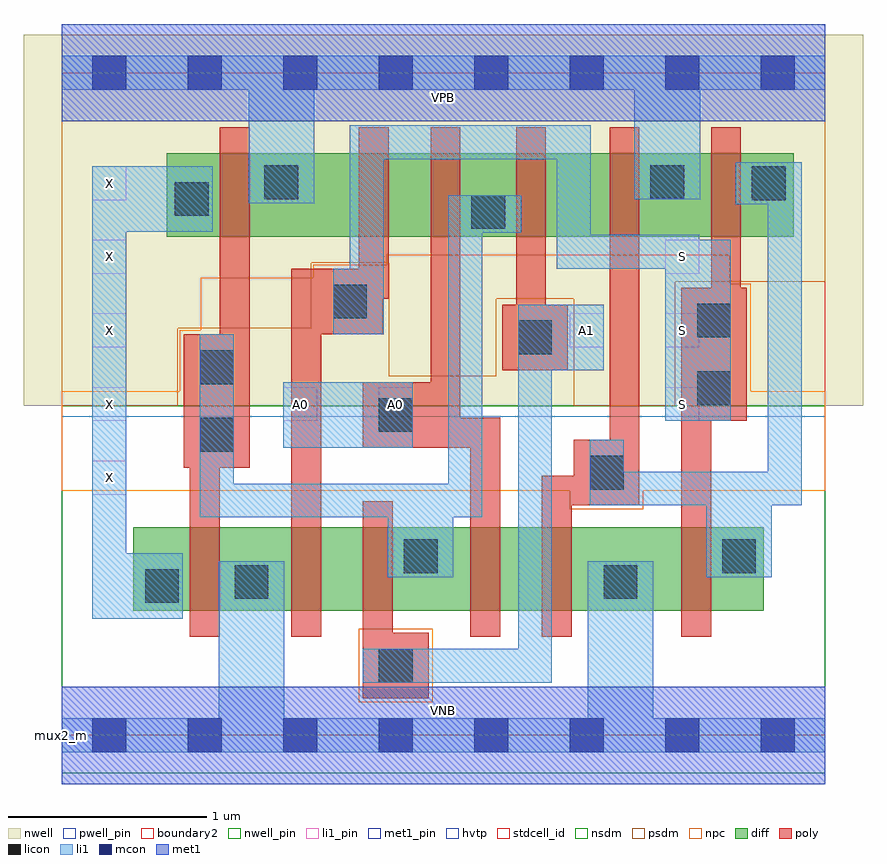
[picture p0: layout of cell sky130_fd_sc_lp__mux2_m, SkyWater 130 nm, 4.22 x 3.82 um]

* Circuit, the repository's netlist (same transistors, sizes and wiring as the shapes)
* Copyright 2020 The SkyWater PDK Authors
*
* Licensed under the Apache License, Version 2.0 (the "License");
* you may not use this file except in compliance with the License.
* You may obtain a copy of the License at
*
*     https://www.apache.org/licenses/LICENSE-2.0
*
* Unless required by applicable law or agreed to in writing, software
* distributed under the License is distributed on an "AS IS" BASIS,
* WITHOUT WARRANTIES OR CONDITIONS OF ANY KIND, either express or implied.
* See the License for the specific language governing permissions and
* limitations under the License.
*
* SPDX-License-Identifier: Apache-2.0

.SUBCKT sky130_fd_sc_lp__mux2_m A0 A1 S VGND VNB VPB VPWR X
*.PININFO A0:I A1:I S:I VGND:I VNB:I VPB:I VPWR:I X:O
MMNA00 xb A0 smdNA0 VNB sky130_fd_pr__nfet_01v8 m=1 w=0.42U l=0.15U mult=1 sa=0.265
+ sb=0.265 sd=0.28 area=0.063 perim=1.14
MMNA01 smdNA0 Sb VGND VNB sky130_fd_pr__nfet_01v8 m=1 w=0.42U l=0.15U mult=1 sa=0.265
+ sb=0.265 sd=0.28 area=0.063 perim=1.14
MMNA10 xb A1 sndNA1 VNB sky130_fd_pr__nfet_01v8 m=1 w=0.42U l=0.15U mult=1 sa=0.265
+ sb=0.265 sd=0.28 area=0.063 perim=1.14
MMNA11 sndNA1 S VGND VNB sky130_fd_pr__nfet_01v8 m=1 w=0.42U l=0.15U mult=1 sa=0.265
+ sb=0.265 sd=0.28 area=0.063 perim=1.14
MMIN1 Sb S VGND VNB sky130_fd_pr__nfet_01v8 m=1 w=0.42U l=0.15U mult=1 sa=0.265
+ sb=0.265 sd=0.28 area=0.063 perim=1.14
MMIN2 X xb VGND VNB sky130_fd_pr__nfet_01v8 m=1 w=0.42U l=0.15U mult=1 sa=0.265
+ sb=0.265 sd=0.28 area=0.063 perim=1.14
MMPA00 VPWR S sndPS VPB sky130_fd_pr__pfet_01v8_hvt m=1 w=0.42U l=0.15U mult=1
+ sa=0.265 sb=0.265 sd=0.28 area=0.063 perim=1.14
MMPA01 sndPS A0 xb VPB sky130_fd_pr__pfet_01v8_hvt m=1 w=0.42U l=0.15U mult=1 sa=0.265
+ sb=0.265 sd=0.28 area=0.063 perim=1.14
MMPA10 VPWR Sb sndPSb VPB sky130_fd_pr__pfet_01v8_hvt m=1 w=0.42U l=0.15U mult=1
+ sa=0.265 sb=0.265 sd=0.28 area=0.063 perim=1.14
MMPA11 sndPSb A1 xb VPB sky130_fd_pr__pfet_01v8_hvt m=1 w=0.42U l=0.15U mult=1
+ sa=0.265 sb=0.265 sd=0.28 area=0.063 perim=1.14
MMIP1 Sb S VPWR VPB sky130_fd_pr__pfet_01v8_hvt m=1 w=0.42U l=0.15U mult=1 sa=0.265
+ sb=0.265 sd=0.28 area=0.063 perim=1.14
MMIP2 X xb VPWR VPB sky130_fd_pr__pfet_01v8_hvt m=1 w=0.42U l=0.15U mult=1 sa=0.265
+ sb=0.265 sd=0.28 area=0.063 perim=1.14
.ENDS sky130_fd_sc_lp__mux2_m

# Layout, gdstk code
import gdstk
lib = gdstk.Library(unit=1e-6, precision=1e-09)
def R(c, l, rs):  # rectangles x0, y0, x1, y1
    for r in rs: c.add(gdstk.rectangle(r[:2], r[2:], *l))
def A(c, l, x, y, w, h, nx, ny, dx, dy):  # array of equal rectangles
    R(c, l, [(x+i*dx, y+j*dy, x+i*dx+w, y+j*dy+h) for i in range(nx) for j in range(ny)])
def P(c, l, *ps):  # polygons
    for p in ps: c.add(gdstk.Polygon(p, *l))
nwell_pin = (64, 16)
nwell = (64, 20)
diff = (65, 20)
poly = (66, 20)
licon = (66, 44)
li1_pin = (67, 16)
li1 = (67, 20)
mcon = (67, 44)
met1_pin = (68, 16)
met1 = (68, 20)
hvtp = (78, 44)
stdcell_id = (81, 4)
nsdm = (93, 44)
psdm = (94, 20)
npc = (95, 20)
pwell_pin = (122, 16)
boundary2 = (236, 0)

sky130_fd_sc_lp__mux2_m = lib.new_cell('sky130_fd_sc_lp__mux2_m')
R(sky130_fd_sc_lp__mux2_m, nwell_pin, [(0,3.085,3.84,3.33)])
R(sky130_fd_sc_lp__mux2_m, nwell, [(-0.19,1.655,4.03,3.52)])
R(sky130_fd_sc_lp__mux2_m, diff, [(0.36,0.625,3.53,1.045), (0.53,2.505,3.68,2.925)])
P(sky130_fd_sc_lp__mux2_m, poly, [(0.945,3.055),(0.795,3.055),(0.795,2.015),(0.615,2.015),(0.615,1.345),(0.645,1.345),(0.645,0.495),(0.795,0.495),(0.795,1.345),(0.945,1.345)],
  [(1.645,3.055),(1.495,3.055),(1.495,2.345),(1.155,2.345),(1.155,0.495),(1.305,0.495),(1.305,2.015),(1.615,2.015),(1.615,2.195),(1.645,2.195)],
  [(1.845,0.515),(1.665,0.515),(1.665,1.175),(1.515,1.175),(1.515,0.185),(1.845,0.185)],
  [(2.205,1.595),(2.005,1.595),(2.005,3.055),(1.855,3.055),(1.855,1.775),(1.515,1.775),(1.515,1.445),(2.055,1.445),(2.055,0.495),(2.205,0.495)],
  [(2.545,2.165),(2.435,2.165),(2.435,3.055),(2.285,3.055),(2.285,2.165),(2.215,2.165),(2.215,1.835),(2.545,1.835)],
  [(2.905,3.055),(2.755,3.055),(2.755,1.485),(2.575,1.485),(2.575,1.305),(2.415,1.305),(2.415,0.495),(2.565,0.495),(2.565,1.155),(2.905,1.155)],
  [(3.445,2.25),(3.415,2.25),(3.415,3.055),(3.265,3.055),(3.265,2.25),(3.115,2.25),(3.115,0.495),(3.265,0.495),(3.265,1.58),(3.445,1.58)])
R(sky130_fd_sc_lp__mux2_m, licon, [(1.595,0.265,1.765,0.435), (0.42,0.665,0.59,0.835), (0.87,0.685,1.04,0.855), (2.725,0.685,2.895,0.855), (1.72,0.815,1.89,0.985), (3.32,0.815,3.49,0.985), (2.655,1.235,2.825,1.405), (0.695,1.425,0.865,1.595), (1.595,1.525,1.765,1.695), (3.195,1.66,3.365,1.83), (0.695,1.765,0.865,1.935), (2.295,1.915,2.465,2.085), (3.195,2,3.365,2.17), (1.365,2.095,1.535,2.265), (2.06,2.545,2.23,2.715), (0.57,2.61,0.74,2.78), (3.47,2.69,3.64,2.86), (1.02,2.695,1.19,2.865), (2.96,2.695,3.13,2.865)])
A(sky130_fd_sc_lp__mux2_m, li1_pin, 0.155, 1.21, 0.17, 0.17, 1, 5, 0, 0.37)
A(sky130_fd_sc_lp__mux2_m, li1_pin, 3.035, 1.58, 0.17, 0.17, 1, 3, 0, 0.37)
R(sky130_fd_sc_lp__mux2_m, li1_pin, [(1.115,1.58,1.285,1.75), (1.595,1.58,1.765,1.75), (2.555,1.95,2.725,2.12)])
R(sky130_fd_sc_lp__mux2_m, li1, [(1.115,1.445,1.765,1.775)])
P(sky130_fd_sc_lp__mux2_m, li1, [(0.94,2.675),(0.94,3.245),(0,3.245),(0,3.415),(3.84,3.415),(3.84,3.245),(3.21,3.245),(3.21,2.695),(2.88,2.695),(2.88,3.245),(1.27,3.245),(1.27,2.675)],
  [(0.79,0.085),(0.79,0.875),(1.12,0.875),(1.12,0.085),(2.645,0.085),(2.645,0.875),(2.975,0.875),(2.975,0.085),(3.84,0.085),(3.84,-0.085),(0,-0.085),(0,0.085)],
  [(1.45,2.345),(1.45,3.065),(2.66,3.065),(2.66,2.515),(3.205,2.515),(3.205,2.49),(3.365,2.49),(3.365,1.58),(3.035,1.58),(3.035,2.345),(2.49,2.345),(2.49,2.895),(1.62,2.895),(1.62,2.015),(1.365,2.015),(1.365,2.345)],
  [(1.64,0.795),(1.64,1.095),(0.695,1.095),(0.695,2.015),(0.865,2.015),(0.865,1.265),(1.945,1.265),(1.945,2.715),(2.31,2.715),(2.31,2.525),(2.115,2.525),(2.115,1.095),(1.97,1.095),(1.97,0.795)],
  [(2.825,1.325),(3.55,1.325),(3.55,2.67),(3.39,2.67),(3.39,2.88),(3.72,2.88),(3.72,1.155),(3.57,1.155),(3.57,0.795),(3.24,0.795),(3.24,1.155),(2.655,1.155),(2.655,1.485),(2.825,1.485)],
  [(0.325,2.53),(0.325,0.915),(0.61,0.915),(0.61,0.585),(0.155,0.585),(0.155,2.86),(0.76,2.86),(0.76,2.53)],
  [(1.515,0.265),(1.515,0.435),(2.295,0.435),(2.295,2.165),(2.725,2.165),(2.725,1.835),(2.465,1.835),(2.465,0.265)])
A(sky130_fd_sc_lp__mux2_m, mcon, 0.155, -0.085, 0.17, 0.17, 8, 2, 0.48, 3.33)
R(sky130_fd_sc_lp__mux2_m, met1_pin, [(0,0,3.84,0.245), (0,3.085,3.84,3.33)])
R(sky130_fd_sc_lp__mux2_m, met1, [(0,-0.245,3.84,0.245), (0,3.085,3.84,3.575)])
R(sky130_fd_sc_lp__mux2_m, hvtp, [(0,1.6,3.84,3.33)])
R(sky130_fd_sc_lp__mux2_m, stdcell_id, [(0,0,3.84,3.33)])
R(sky130_fd_sc_lp__mux2_m, nsdm, [(0,-0.19,3.84,1.655)])
P(sky130_fd_sc_lp__mux2_m, psdm, [(3.84,3.52),(0,3.52),(0,1.655),(0.585,1.655),(0.585,2.045),(1.255,2.045),(1.255,2.375),(1.645,2.375),(1.645,1.805),(2.185,1.805),(2.185,2.195),(2.575,2.195),(2.575,1.655),(3.085,1.655),(3.085,2.28),(3.84,2.28)])
R(sky130_fd_sc_lp__mux2_m, npc, [(1.495,0.165,1.865,0.535)])
P(sky130_fd_sc_lp__mux2_m, npc, [(3.84,1.73),(3.465,1.73),(3.465,2.27),(3.36,2.27),(3.36,2.415),(1.635,2.415),(1.635,2.365),(1.265,2.365),(1.265,2.3),(0.7,2.3),(0.7,2.035),(0.595,2.035),(0.595,1.73),(0,1.73),(0,1.23),(2.555,1.23),(2.555,1.135),(2.925,1.135),(2.925,1.23),(3.84,1.23)])
R(sky130_fd_sc_lp__mux2_m, pwell_pin, [(0,0,3.84,0.245)])
R(sky130_fd_sc_lp__mux2_m, boundary2, [(0,0,3.84,3.33)])
sky130_fd_sc_lp__mux2_m.add(gdstk.Label('VNB', (1.92,0.123), layer=64, texttype=59))
sky130_fd_sc_lp__mux2_m.add(gdstk.Label('VPB', (1.92,3.208), layer=64, texttype=5))
sky130_fd_sc_lp__mux2_m.add(gdstk.Label('mux2_m', (0,0), layer=83, texttype=44))
sky130_fd_sc_lp__mux2_m.add(gdstk.Label('VPWR', (1.92,3.208), layer=68, texttype=5))
sky130_fd_sc_lp__mux2_m.add(gdstk.Label('VGND', (1.92,0.123), layer=68, texttype=5))
sky130_fd_sc_lp__mux2_m.add(gdstk.Label('A0', (1.2,1.665), layer=67, texttype=5))
sky130_fd_sc_lp__mux2_m.add(gdstk.Label('A0', (1.68,1.665), layer=67, texttype=5))
sky130_fd_sc_lp__mux2_m.add(gdstk.Label('S', (3.12,1.665), layer=67, texttype=5))
sky130_fd_sc_lp__mux2_m.add(gdstk.Label('S', (3.12,2.035), layer=67, texttype=5))
sky130_fd_sc_lp__mux2_m.add(gdstk.Label('S', (3.12,2.405), layer=67, texttype=5))
sky130_fd_sc_lp__mux2_m.add(gdstk.Label('A1', (2.64,2.035), layer=67, texttype=5))
sky130_fd_sc_lp__mux2_m.add(gdstk.Label('X', (0.24,1.295), layer=67, texttype=5))
sky130_fd_sc_lp__mux2_m.add(gdstk.Label('X', (0.24,1.665), layer=67, texttype=5))
sky130_fd_sc_lp__mux2_m.add(gdstk.Label('X', (0.24,2.035), layer=67, texttype=5))
sky130_fd_sc_lp__mux2_m.add(gdstk.Label('X', (0.24,2.405), layer=67, texttype=5))
sky130_fd_sc_lp__mux2_m.add(gdstk.Label('X', (0.24,2.775), layer=67, texttype=5))

lib.write_gds('sky130_fd_sc_lp__mux2_m.gds')
